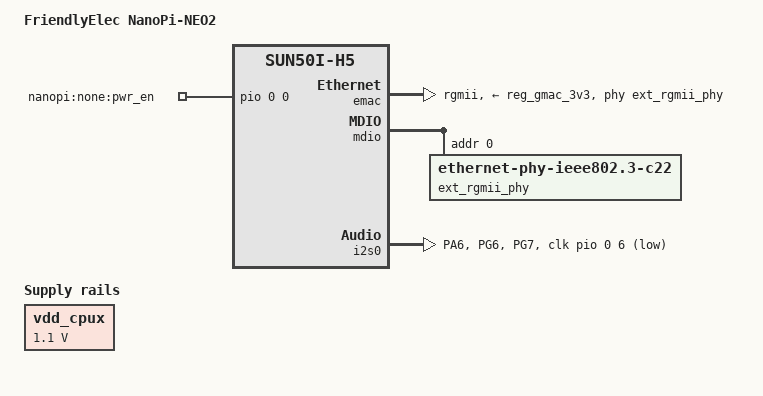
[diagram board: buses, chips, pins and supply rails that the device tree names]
/*
 * Copyright (C) 2016 ARM Ltd.
 *
 * This file is dual-licensed: you can use it either under the terms
 * of the GPL or the X11 license, at your option. Note that this dual
 * licensing only applies to this file, and not this project as a
 * whole.
 *
 *  a) This file is free software; you can redistribute it and/or
 *     modify it under the terms of the GNU General Public License as
 *     published by the Free Software Foundation; either version 2 of the
 *     License, or (at your option) any later version.
 *
 *     This file is distributed in the hope that it will be useful,
 *     but WITHOUT ANY WARRANTY; without even the implied warranty of
 *     MERCHANTABILITY or FITNESS FOR A PARTICULAR PURPOSE.  See the
 *     GNU General Public License for more details.
 *
 * Or, alternatively,
 *
 *  b) Permission is hereby granted, free of charge, to any person
 *     obtaining a copy of this software and associated documentation
 *     files (the "Software"), to deal in the Software without
 *     restriction, including without limitation the rights to use,
 *     copy, modify, merge, publish, distribute, sublicense, and/or
 *     sell copies of the Software, and to permit persons to whom the
 *     Software is furnished to do so, subject to the following
 *     conditions:
 *
 *     The above copyright notice and this permission notice shall be
 *     included in all copies or substantial portions of the Software.
 *
 *     THE SOFTWARE IS PROVIDED "AS IS", WITHOUT WARRANTY OF ANY KIND,
 *     EXPRESS OR IMPLIED, INCLUDING BUT NOT LIMITED TO THE WARRANTIES
 *     OF MERCHANTABILITY, FITNESS FOR A PARTICULAR PURPOSE AND
 *     NONINFRINGEMENT. IN NO EVENT SHALL THE AUTHORS OR COPYRIGHT
 *     HOLDERS BE LIABLE FOR ANY CLAIM, DAMAGES OR OTHER LIABILITY,
 *     WHETHER IN AN ACTION OF CONTRACT, TORT OR OTHERWISE, ARISING
 *     FROM, OUT OF OR IN CONNECTION WITH THE SOFTWARE OR THE USE OR
 *     OTHER DEALINGS IN THE SOFTWARE.
 */

#include "sun50i-h5-nanopi.dtsi"

/ {
	model = "FriendlyElec NanoPi-NEO2";
	compatible = "friendlyelec,nanopi-neo2", "allwinner,sun50i-h5";

	vdd_cpux: gpio-regulator {
		compatible = "regulator-gpio";

		pinctrl-names = "default";
		pinctrl-0 = <&vdd_cpux_r_npi>;

		regulator-name = "vdd-cpux";
		regulator-type = "voltage";
		regulator-boot-on;
		regulator-always-on;
		regulator-min-microvolt = <1100000>;
		regulator-max-microvolt = <1100000>;
		regulator-ramp-delay = <50>; /* 4ms */

		gpios = <&r_pio 0 6 GPIO_ACTIVE_HIGH>;
		gpios-states = <0x1>;
		states = <1100000 0x0
			  1100000 0x1>;
	};

    leds {
		pwr_en {
			label = "nanopi:none:pwr_en";
			gpios = <&pio 0 0 GPIO_ACTIVE_HIGH>;
			default-state = "on";
		};
	};	

	pcm5102a: pcm5102a-codec {
        status = "okay";
    };
};

&cpu0 {
	operating-points = <
		1008000	1100000
		816000	1100000
		624000	1100000
		480000	1100000
		312000	1100000
		240000	1100000
		120000	1100000
		>;
	#cooling-cells = <2>;
	cooling-min-level = <0>;
	cooling-max-level = <6>;
	cpu0-supply = <&vdd_cpux>;
};

&cpu_thermal {
	trips {
		cpu_warm: cpu_warm {
			temperature = <65000>;
			hysteresis = <2000>;
			type = "passive";
		};
		cpu_hot: cpu_hot {
			temperature = <75000>;
			hysteresis = <2000>;
			type = "passive";
		};
		cpu_very_hot: cpu_very_hot {
			temperature = <90000>;
			hysteresis = <2000>;
			type = "passive";
		};
		cpu_crit: cpu_crit {
			temperature = <105000>;
			hysteresis = <2000>;
			type = "critical";
		};
	};

	cooling-maps {
		cpu_warm_limit_cpu {
			trip = <&cpu_warm>;
			cooling-device = <&cpu0 THERMAL_NO_LIMIT 1>;
		};
		cpu_hot_limit_cpu {
			trip = <&cpu_hot>;
			cooling-device = <&cpu0 2 3>;
		};
		cpu_very_hot_limit_cpu {
			trip = <&cpu_very_hot>;
			cooling-device = <&cpu0 5 THERMAL_NO_LIMIT>;
		};
	};
};

&emac {
	pinctrl-names = "default";
	pinctrl-0 = <&emac_rgmii_pins>;
	phy-supply = <&reg_gmac_3v3>;
	phy-handle = <&ext_rgmii_phy>;
	phy-mode = "rgmii";
	allwinner,leds-active-low;
	status = "okay";
};

&mdio {
	ext_rgmii_phy: ethernet-phy@1 {
		compatible = "ethernet-phy-ieee802.3-c22";
		reg = <0>;
	};
};

&pio {
    leds_npi: led_pins@0 {
        pins = "PA10", "PA0";
        function = "gpio_out";
    };
    spi0_cs_pins: spi0_cs_pins {
        pins = "PC3";
        function = "gpio_out";
    };
	uart1_pins: uart1 {
		pins = "";
		function = "uart1";
	};
	i2sclk_pins: i2sclk_pins {
		pins = "PA6", "PG6", "PG7";
		function = "gpio_out";
	};
};

&uart2 {
	status = "disabled";
};

&i2c1 {
    /* no I2C1 for I2S0 */
    status = "disabled";
};

&uart2 {
    /* PA0 used for power-off */
    status = "disabled";
};

&spi0 {
    /* PA6 used for i2s_clk */
    cs-gpios = <&pio 2 3 GPIO_ACTIVE_HIGH>;
};

&de {
	/* sun8i-h3-display-engine */
    status = "disabled";
};

&hdmi {
	/* sun8i-h3-dw-hdmi */
    status = "disabled";
};

&sound_hdmi {
    status = "disabled";
};

&tcon0 {
    status = "disabled";
};

&mixer0 {
	/* allwinner,sun8i-h3-de2-mixer0 */
    status = "disabled";
};

&i2s0 {
	sound-dai = <&pcm5102a>;
	clock-source = "external";
	pinctrl-0 = <&i2s0_pins &i2sclk_pins>;
    clk-gpios = <&pio 0 6 GPIO_ACTIVE_LOW>, <&pio 6 6 GPIO_ACTIVE_LOW>, <&pio 6 7 GPIO_ACTIVE_LOW>;
	status = "okay";
};

&i2s2 {
	/* for HDMI */
    status = "disabled";
};

&codec {
    status = "disabled";
};
